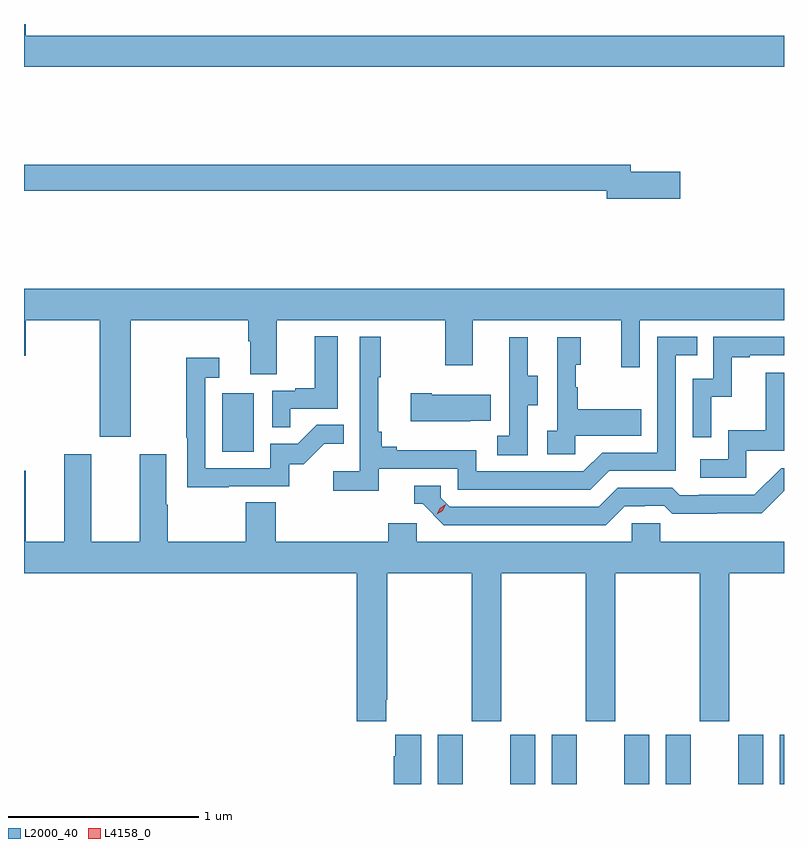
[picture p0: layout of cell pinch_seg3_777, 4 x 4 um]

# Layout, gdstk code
import gdstk
lib = gdstk.Library(unit=1e-6, precision=1e-09)
def R(c, l, rs):  # rectangles x0, y0, x1, y1
    for r in rs: c.add(gdstk.rectangle(r[:2], r[2:], *l))
def P(c, l, *ps):  # polygons
    for p in ps: c.add(gdstk.Polygon(p, *l))
L2000_40 = (2000, 40)
L4158_0 = (4158, 0)

pinch_seg3_777 = lib.new_cell('pinch_seg3_777')
R(pinch_seg3_777, L2000_40, [(814.694,707.798,814.825,708.058), (815.075,707.798,815.206,708.058), (815.294,707.798,815.425,708.058), (815.675,707.798,815.806,708.058), (815.894,707.798,816.025,708.058), (816.275,707.798,816.406,708.058), (816.494,707.798,816.516,708.058), (813.56,709.548,813.724,709.855)])
P(pinch_seg3_777, L2000_40, [(816.516,711.736),(812.524,711.736),(812.524,711.798),(812.516,711.798),(812.516,711.572),(816.516,711.572)],
  [(815.971,711.02),(815.71,711.02),(815.71,711.056),(812.516,711.056),(812.516,710.92),(815.582,710.92),(815.582,710.878),(815.971,710.878)],
  [(813.079,710.24),(813.695,710.24),(813.695,710.128),(813.707,710.128),(813.707,709.954),(813.847,709.954),(813.847,710.24),(814.732,710.24),(814.732,710.001),(814.879,710.001),(814.879,710.24),(815.66,710.24),(815.66,709.992),(815.757,709.992),(815.757,710.24),(816.516,710.24),(816.516,710.404),(812.516,710.404),(812.516,710.052),(812.524,710.052),(812.524,710.24),(812.915,710.24),(812.915,709.626),(813.079,709.626)],
  [(813.917,709.773),(814.168,709.773),(814.168,710.155),(814.046,710.155),(814.046,709.882),(813.943,709.882),(813.943,709.869),(813.822,709.869),(813.822,709.675),(813.917,709.675)],
  [(814.382,709.458),(814.8,709.458),(814.8,709.347),(815.497,709.347),(815.596,709.446),(815.946,709.446),(815.946,710.055),(816.059,710.055),(816.059,710.151),(815.85,710.151),(815.85,709.542),(815.559,709.542),(815.46,709.443),(814.896,709.443),(814.896,709.555),(814.477,709.555),(814.477,709.574),(814.4,709.574),(814.4,709.651),(814.381,709.651),(814.381,709.939),(814.393,709.939),(814.393,710.152),(814.284,710.152),(814.284,709.444),(814.143,709.444),(814.143,709.342),(814.382,709.342)],
  [(816.132,709.835),(816.242,709.835),(816.242,710.043),(816.337,710.043),(816.337,710.055),(816.516,710.055),(816.516,710.151),(816.144,710.151),(816.144,709.932),(816.036,709.932),(816.036,709.623),(816.132,709.623)],
  [(815.418,709.631),(815.765,709.631),(815.765,709.771),(815.431,709.771),(815.431,709.886),(815.421,709.886),(815.421,710.004),(815.446,710.004),(815.446,710.149),(815.322,710.149),(815.322,709.658),(815.271,709.658),(815.271,709.533),(815.418,709.533)],
  [(815.166,709.792),(815.221,709.792),(815.221,709.947),(815.167,709.947),(815.167,710.149),(815.069,710.149),(815.069,709.935),(815.07,709.935),(815.07,709.631),(815.007,709.631),(815.007,709.528),(815.166,709.528)],
  [(813.593,709.365),(813.912,709.365),(813.912,709.482),(813.988,709.482),(814.095,709.589),(814.199,709.589),(814.199,709.688),(814.056,709.688),(813.958,709.59),(813.813,709.59),(813.813,709.461),(813.471,709.461),(813.471,709.935),(813.544,709.935),(813.544,710.041),(813.37,710.041),(813.37,709.621),(813.375,709.621),(813.375,709.36),(813.593,709.36)],
  [(816.318,709.551),(816.516,709.551),(816.516,709.963),(816.421,709.963),(816.421,709.66),(816.222,709.66),(816.222,709.506),(816.075,709.506),(816.075,709.41),(816.318,709.41)],
  [(814.865,709.709),(814.973,709.709),(814.973,709.846),(814.663,709.846),(814.663,709.854),(814.551,709.854),(814.551,709.706),(814.865,709.706)],
  [(813.265,709.268),(813.265,709.534),(813.125,709.534),(813.125,709.072),(812.869,709.072),(812.869,709.534),(812.729,709.534),(812.729,709.072),(812.524,709.072),(812.524,709.447),(812.516,709.447),(812.516,708.908),(814.268,708.908),(814.268,708.129),(814.423,708.129),(814.423,708.241),(814.428,708.241),(814.428,708.908),(814.873,708.908),(814.873,708.129),(815.028,708.129),(815.028,708.908),(815.473,708.908),(815.473,708.129),(815.628,708.129),(815.628,708.908),(816.073,708.908),(816.073,708.129),(816.228,708.129),(816.228,708.908),(816.516,708.908),(816.516,709.072),(815.865,709.072),(815.865,709.17),(815.715,709.17),(815.715,709.072),(814.584,709.072),(814.584,709.17),(814.433,709.17),(814.433,709.072),(813.842,709.072),(813.842,709.28),(813.682,709.28),(813.682,709.072),(813.273,709.072),(813.273,709.268)],
  [(815.677,709.26),(815.784,709.26),(815.784,709.263),(815.887,709.263),(815.929,709.221),(816.162,709.221),(816.162,709.223),(816.398,709.223),(816.516,709.341),(816.516,709.461),(816.501,709.461),(816.36,709.32),(816.067,709.32),(816.067,709.317),(815.968,709.317),(815.929,709.356),(815.64,709.356),(815.541,709.257),(814.758,709.257),(814.71,709.305),(814.71,709.368),(814.571,709.368),(814.571,709.272),(814.614,709.272),(814.725,709.161),(815.578,709.161)],
  [(814.606,708.058),(814.469,708.058),(814.469,707.945),(814.463,707.945),(814.463,707.798),(814.606,707.798)])
P(pinch_seg3_777, L4158_0, [(814.688,709.217),(814.688,709.217),(814.704,709.25),(814.735,709.271),(814.735,709.271),(814.735,709.27),(814.719,709.237),(814.689,709.217)])

lib.write_gds('pinch_seg3_777.gds')
